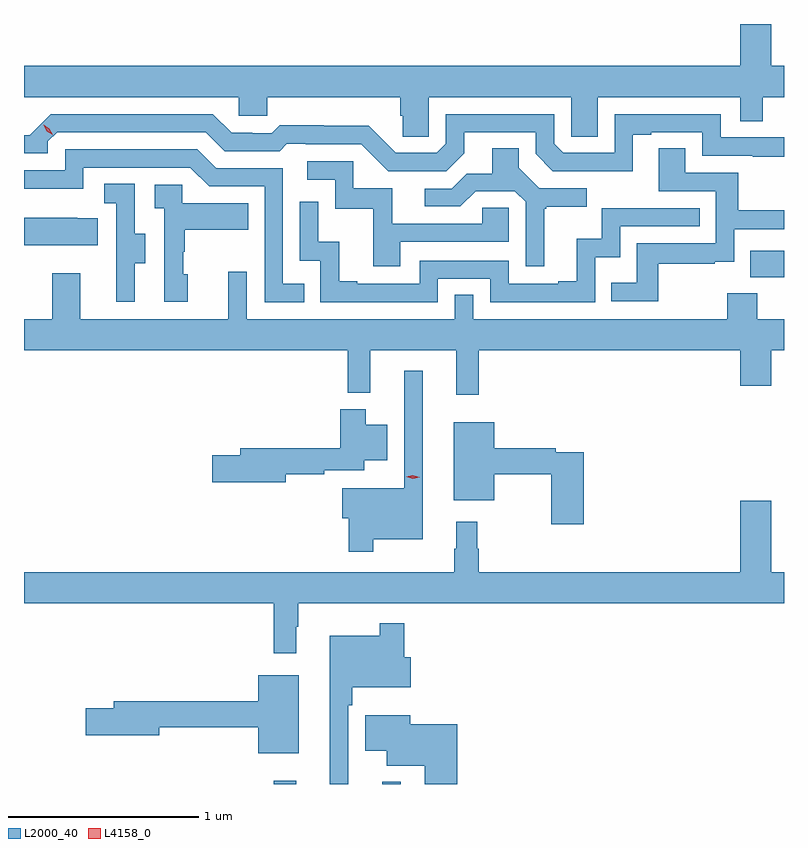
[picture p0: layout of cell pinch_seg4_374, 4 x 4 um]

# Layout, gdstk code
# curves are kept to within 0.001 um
import gdstk
lib = gdstk.Library(unit=1e-6, precision=1e-09)
def R(c, l, rs):  # rectangles x0, y0, x1, y1
    for r in rs: c.add(gdstk.rectangle(r[:2], r[2:], *l))
def P(c, l, *ps):  # polygons
    for p in ps: c.add(gdstk.Polygon(p, *l))
L2000_40 = (2000, 40)
L4158_0 = (4158, 0)

pinch_seg4_374 = lib.new_cell('pinch_seg4_374')
R(pinch_seg4_374, L2000_40, [(1001.713,779.885,1001.831,779.902), (1002.284,779.885,1002.381,779.896), (1004.221,782.552,1004.398,782.692)])
P(pinch_seg4_374, L2000_40, [(1002.528,783.5),(1003.278,783.5),(1003.278,783.292),(1003.417,783.292),(1003.417,783.5),(1004.169,783.5),(1004.169,783.373),(1004.285,783.373),(1004.285,783.5),(1004.398,783.5),(1004.398,783.664),(1004.332,783.664),(1004.332,783.885),(1004.168,783.885),(1004.168,783.664),(1000.398,783.664),(1000.398,783.5),(1001.529,783.5),(1001.529,783.402),(1001.679,783.402),(1001.679,783.5),(1002.377,783.5),(1002.377,783.402),(1002.391,783.402),(1002.391,783.292),(1002.528,783.292)],
  [(1003.603,783.303),(1003.699,783.303),(1003.699,783.315),(1003.968,783.315),(1003.968,783.192),(1004.233,783.192),(1004.233,783.187),(1004.398,783.187),(1004.398,783.288),(1004.064,783.288),(1004.064,783.411),(1003.506,783.411),(1003.506,783.207),(1003.236,783.207),(1003.188,783.255),(1003.188,783.411),(1002.618,783.411),(1002.618,783.255),(1002.57,783.207),(1002.354,783.207),(1002.212,783.349),(1001.976,783.349),(1001.976,783.352),(1001.743,783.352),(1001.701,783.309),(1001.598,783.309),(1001.598,783.312),(1001.491,783.312),(1001.392,783.411),(1000.539,783.411),(1000.428,783.3),(1000.398,783.3),(1000.398,783.204),(1000.524,783.204),(1000.524,783.267),(1000.572,783.315),(1001.355,783.315),(1001.454,783.216),(1001.743,783.216),(1001.782,783.255),(1001.881,783.255),(1001.881,783.252),(1002.174,783.252),(1002.315,783.111),(1002.621,783.111),(1002.715,783.205),(1002.715,783.315),(1003.092,783.315),(1003.092,783.201),(1003.182,783.111),(1003.603,783.11)],
  [(1003.135,782.913),(1003.147,782.913),(1003.147,782.924),(1003.36,782.924),(1003.36,783.021),(1003.11,783.021),(1003.003,783.128),(1003.003,783.23),(1002.863,783.23),(1002.863,783.098),(1002.728,783.098),(1002.648,783.018),(1002.507,783.018),(1002.507,782.925),(1002.694,782.925),(1002.775,783.006),(1002.981,783.006),(1003.038,782.949),(1003.038,782.61),(1003.135,782.61)],
  [(1003.735,782.622),(1004.033,782.622),(1004.033,782.633),(1004.136,782.633),(1004.136,782.805),(1004.398,782.805),(1004.398,782.906),(1004.156,782.906),(1004.156,783.102),(1003.879,783.102),(1003.879,783.23),(1003.739,783.23),(1003.739,783.006),(1004.04,783.006),(1004.04,782.73),(1003.624,782.73),(1003.624,782.524),(1003.489,782.524),(1003.489,782.427),(1003.735,782.427)],
  [(1001.873,782.517),(1001.76,782.517),(1001.76,783.126),(1001.41,783.126),(1001.311,783.225),(1000.614,783.225),(1000.614,783.114),(1000.398,783.114),(1000.398,783.017),(1000.71,783.017),(1000.71,783.129),(1001.274,783.129),(1001.373,783.03),(1001.664,783.03),(1001.664,782.421),(1001.873,782.421)],
  [(1002.379,782.739),(1002.948,782.739),(1002.948,782.919),(1002.811,782.919),(1002.811,782.835),(1002.337,782.835),(1002.337,783.021),(1002.132,783.021),(1002.132,783.162),(1001.889,783.162),(1001.889,783.066),(1002.036,783.066),(1002.036,782.913),(1002.235,782.913),(1002.235,782.61),(1002.379,782.61)],
  [(1000.981,782.626),(1001.035,782.626),(1001.035,782.781),(1000.98,782.781),(1000.98,783.044),(1000.821,783.044),(1000.821,782.941),(1000.884,782.941),(1000.884,782.637),(1000.883,782.637),(1000.883,782.424),(1000.981,782.424)],
  [(1001.26,782.568),(1001.235,782.568),(1001.235,782.687),(1001.245,782.687),(1001.245,782.801),(1001.579,782.801),(1001.579,782.941),(1001.232,782.941),(1001.232,783.039),(1001.085,783.039),(1001.085,782.915),(1001.136,782.915),(1001.136,782.424),(1001.26,782.424)],
  [(1002.576,782.544),(1002.852,782.544),(1002.852,782.421),(1003.404,782.421),(1003.404,782.657),(1003.536,782.657),(1003.536,782.82),(1003.955,782.82),(1003.955,782.916),(1003.44,782.916),(1003.44,782.755),(1003.307,782.755),(1003.307,782.53),(1003.211,782.53),(1003.211,782.517),(1002.948,782.517),(1002.948,782.64),(1002.48,782.64),(1002.48,782.517),(1002.151,782.517),(1002.151,782.53),(1002.056,782.53),(1002.056,782.738),(1001.946,782.738),(1001.946,782.95),(1001.85,782.95),(1001.85,782.64),(1001.958,782.64),(1001.958,782.421),(1002.576,782.421)],
  [(1000.787,782.863),(1000.679,782.863),(1000.679,782.866),(1000.398,782.866),(1000.398,782.72),(1000.787,782.72)],
  [(1002.791,782.168),(1004.168,782.168),(1004.168,781.98),(1004.332,781.98),(1004.332,782.168),(1004.398,782.168),(1004.398,782.332),(1004.258,782.332),(1004.258,782.467),(1004.098,782.467),(1004.098,782.332),(1002.762,782.332),(1002.762,782.459),(1002.666,782.459),(1002.666,782.332),(1001.571,782.332),(1001.571,782.581),(1001.474,782.581),(1001.474,782.332),(1000.693,782.332),(1000.693,782.572),(1000.546,782.572),(1000.546,782.332),(1000.398,782.332),(1000.398,782.168),(1002.103,782.168),(1002.103,781.943),(1002.221,781.943),(1002.221,782.168),(1002.674,782.168),(1002.674,781.935),(1002.791,781.935)],
  [(1002.235,781.172),(1002.496,781.172),(1002.496,782.059),(1002.399,782.059),(1002.399,781.441),(1002.072,781.441),(1002.072,781.283),(1002.106,781.283),(1002.106,781.107),(1002.235,781.107)],
  [(1001.776,781.516),(1001.978,781.516),(1001.978,781.536),(1002.19,781.536),(1002.19,781.589),(1002.31,781.589),(1002.31,781.777),(1002.196,781.777),(1002.196,781.858),(1002.062,781.858),(1002.062,781.652),(1001.537,781.652),(1001.537,781.616),(1001.388,781.616),(1001.388,781.474),(1001.776,781.474)],
  [(1003.343,781.632),(1003.196,781.632),(1003.196,781.652),(1002.874,781.652),(1002.874,781.789),(1002.659,781.789),(1002.659,781.379),(1002.874,781.379),(1002.874,781.516),(1003.172,781.516),(1003.172,781.251),(1003.343,781.251)],
  [(1001.83,780.713),(1001.842,780.713),(1001.842,780.836),(1004.398,780.836),(1004.398,781),(1004.332,781),(1004.332,781.375),(1004.168,781.375),(1004.168,781),(1002.791,781),(1002.791,781.124),(1002.784,781.124),(1002.784,781.264),(1002.674,781.264),(1002.674,781.124),(1002.663,781.124),(1002.663,781),(1000.398,781),(1000.398,780.836),(1001.713,780.836),(1001.713,780.573),(1001.83,780.573)],
  [(1002.105,780.299),(1002.125,780.299),(1002.125,780.395),(1002.433,780.395),(1002.433,780.553),(1002.398,780.553),(1002.398,780.73),(1002.27,780.73),(1002.27,780.664),(1002.008,780.664),(1002.008,779.885),(1002.105,779.885)],
  [(1001.845,780.457),(1001.63,780.457),(1001.63,780.32),(1000.871,780.32),(1000.871,780.284),(1000.722,780.284),(1000.722,780.142),(1001.11,780.142),(1001.11,780.184),(1001.63,780.184),(1001.63,780.047),(1001.845,780.047)],
  [(1002.677,780.199),(1002.43,780.199),(1002.43,780.247),(1002.194,780.247),(1002.194,780.059),(1002.308,780.059),(1002.308,779.981),(1002.506,779.981),(1002.506,779.885),(1002.677,779.885)])
P(pinch_seg4_374, L4158_0, [(1002.444,781.491),(1002.409,781.502),(1002.409,781.502),(1002.409,781.503),(1002.445,781.511),(1002.48,781.499),(1002.48,781.499),(1002.48,781.499)],
  [(1000.548,783.301),(1000.517,783.321),(1000.501,783.353),(1000.501,783.354),(1000.501,783.354),(1000.532,783.334),(1000.549,783.302),(1000.549,783.301)])

lib.write_gds('pinch_seg4_374.gds')
